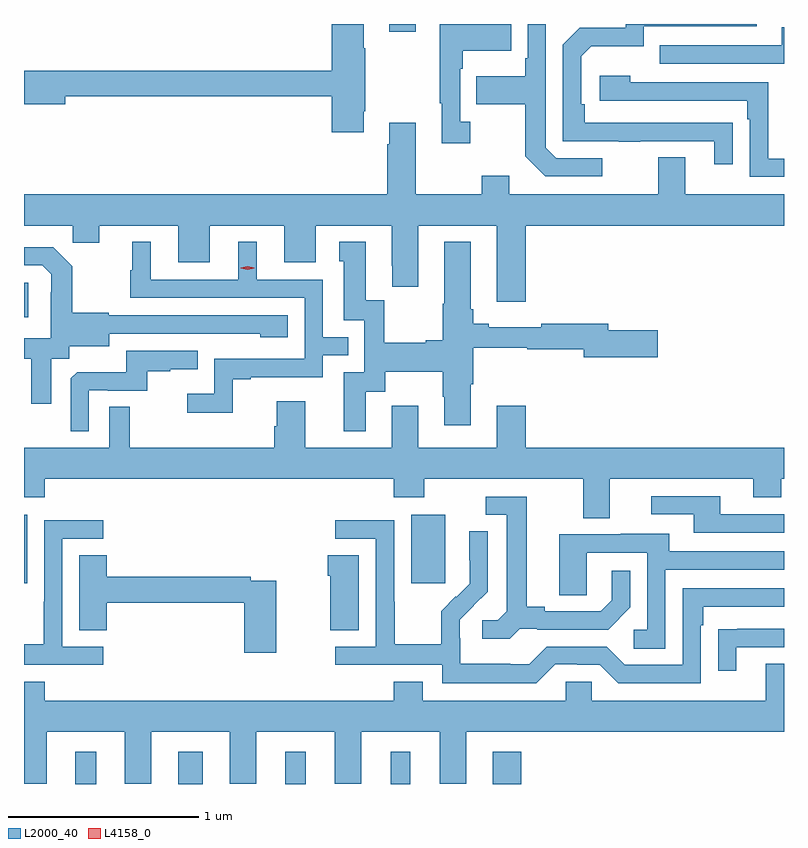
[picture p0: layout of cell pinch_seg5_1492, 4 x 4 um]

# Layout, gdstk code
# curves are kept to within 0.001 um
import gdstk
lib = gdstk.Library(unit=1e-6, precision=1e-09)
def R(c, l, rs):  # rectangles x0, y0, x1, y1
    for r in rs: c.add(gdstk.rectangle(r[:2], r[2:], *l))
def P(c, l, *ps):  # polygons
    for p in ps: c.add(gdstk.Polygon(p, *l))
L2000_40 = (2000, 40)
L4158_0 = (4158, 0)

pinch_seg5_1492 = lib.new_cell('pinch_seg5_1492')
R(pinch_seg5_1492, L2000_40, [(252.356,839.169,252.466,839.338), (252.899,839.169,253.027,839.338), (253.46,839.169,253.57,839.338), (254.015,839.169,254.119,839.338), (254.552,839.169,254.702,839.338), (252.086,840.225,252.103,840.586), (254.123,840.225,254.302,840.586), (252.086,841.626,252.109,841.806), (254.009,843.129,254.149,843.169)])
P(pinch_seg5_1492, L2000_40, [(254.434,842.654),(254.382,842.654),(254.382,842.933),(254.395,842.933),(254.395,843.029),(254.651,843.029),(254.651,843.169),(254.274,843.169),(254.274,842.753),(254.285,842.753),(254.285,842.541),(254.434,842.541)],
  [(255.13,842.463),(254.886,842.463),(254.832,842.517),(254.832,843.169),(254.736,843.169),(254.736,842.989),(254.724,842.989),(254.724,842.893),(254.467,842.893),(254.467,842.746),(254.724,842.746),(254.724,842.473),(254.829,842.367),(255.13,842.367)],
  [(253.873,842.71),(253.881,842.71),(253.881,843.041),(253.873,843.041),(253.873,843.169),(253.706,843.169),(253.706,842.924),(252.086,842.924),(252.086,842.746),(252.304,842.746),(252.304,842.788),(253.706,842.788),(253.706,842.598),(253.873,842.598)],
  [(255.815,842.648),(255.038,842.649),(255.038,842.746),(255.018,842.746),(255.018,843),(255.071,843.053),(255.348,843.053),(255.348,843.156),(255.943,843.156),(255.943,843.169),(255.252,843.169),(255.252,843.15),(255.012,843.15),(254.922,843.06),(254.922,842.553),(255.217,842.553),(255.217,842.548),(255.329,842.548),(255.329,842.553),(255.719,842.553),(255.719,842.43),(255.815,842.43)],
  [(256.086,843.151),(256.073,843.151),(256.073,843.057),(255.433,843.057),(255.433,842.961),(256.086,842.961)],
  [(256.086,842.46),(256.002,842.46),(256.002,842.862),(255.278,842.862),(255.278,842.896),(255.117,842.896),(255.117,842.766),(255.893,842.766),(255.893,842.669),(255.906,842.669),(255.906,842.364),(256.086,842.364)],
  [(254.726,842.108),(256.086,842.108),(256.086,842.272),(255.565,842.272),(255.565,842.467),(255.425,842.467),(255.425,842.272),(254.641,842.272),(254.641,842.371),(254.494,842.371),(254.494,842.272),(254.149,842.272),(254.149,842.65),(254.009,842.65),(254.009,842.537),(253.997,842.537),(253.997,842.272),(252.086,842.272),(252.086,842.108),(252.343,842.108),(252.343,842.018),(252.481,842.018),(252.481,842.108),(252.899,842.108),(252.899,841.914),(253.063,841.914),(253.063,842.108),(253.457,842.108),(253.457,841.914),(253.621,841.914),(253.621,842.108),(254.021,842.108),(254.021,841.897),(254.024,841.897),(254.024,841.785),(254.161,841.785),(254.161,842.108),(254.573,842.108),(254.573,841.707),(254.726,841.707)],
  [(253.885,841.234),(253.987,841.234),(253.987,841.34),(254.29,841.34),(254.29,841.206),(254.297,841.206),(254.297,841.056),(254.437,841.056),(254.437,841.274),(254.45,841.274),(254.45,841.464),(254.735,841.464),(254.735,841.456),(255.032,841.456),(255.032,841.414),(255.421,841.414),(255.421,841.556),(255.16,841.556),(255.16,841.592),(254.809,841.592),(254.809,841.573),(254.533,841.573),(254.533,841.592),(254.45,841.592),(254.45,841.669),(254.437,841.669),(254.437,842.023),(254.297,842.023),(254.297,841.697),(254.29,841.697),(254.29,841.505),(254.201,841.505),(254.201,841.492),(253.983,841.492),(253.983,841.715),(253.885,841.715),(253.885,842.023),(253.745,842.023),(253.745,841.92),(253.769,841.92),(253.769,841.611),(253.878,841.611),(253.878,841.335),(253.769,841.335),(253.769,841.026),(253.885,841.026)],
  [(253.185,841.299),(253.279,841.299),(253.279,841.311),(253.659,841.311),(253.659,841.425),(253.793,841.425),(253.793,841.521),(253.659,841.521),(253.659,841.824),(253.312,841.824),(253.312,842.023),(253.214,842.023),(253.214,841.824),(252.754,841.824),(252.754,842.023),(252.656,842.023),(252.656,841.872),(252.645,841.872),(252.645,841.728),(253.563,841.728),(253.563,841.407),(253.086,841.407),(253.086,841.222),(252.945,841.222),(252.945,841.124),(253.185,841.124)],
  [(252.229,841.408),(252.324,841.408),(252.324,841.472),(252.535,841.472),(252.535,841.539),(253.329,841.538),(253.329,841.52),(253.474,841.52),(253.474,841.635),(252.531,841.635),(252.531,841.648),(252.339,841.648),(252.339,841.893),(252.239,841.993),(252.086,841.993),(252.086,841.899),(252.183,841.899),(252.23,841.852),(252.23,841.757),(252.228,841.757),(252.228,841.516),(252.086,841.516),(252.086,841.406),(252.125,841.406),(252.125,841.17),(252.229,841.17)],
  [(252.426,841.242),(252.526,841.242),(252.526,841.239),(252.734,841.239),(252.734,841.341),(252.857,841.341),(252.857,841.352),(253.001,841.352),(253.001,841.449),(252.624,841.449),(252.624,841.337),(252.365,841.337),(252.333,841.305),(252.333,841.025),(252.426,841.025)],
  [(255.169,840.776),(255.923,840.776),(255.923,840.677),(256.071,840.677),(256.071,840.776),(256.086,840.776),(256.086,840.94),(254.726,840.94),(254.726,841.159),(254.573,841.159),(254.573,840.94),(254.161,840.94),(254.161,841.159),(254.021,841.159),(254.021,840.94),(253.567,840.94),(253.567,841.183),(253.415,841.183),(253.415,841.053),(253.403,841.053),(253.403,840.94),(252.643,840.94),(252.643,841.154),(252.534,841.154),(252.534,840.94),(252.086,840.94),(252.086,840.677),(252.194,840.677),(252.194,840.776),(254.033,840.776),(254.033,840.677),(254.193,840.677),(254.193,840.776),(255.029,840.776),(255.029,840.568),(255.169,840.568)],
  [(256.086,840.588),(255.751,840.588),(255.751,840.684),(255.387,840.684),(255.387,840.588),(255.611,840.588),(255.611,840.492),(256.086,840.492)],
  [(254.694,839.985),(254.788,839.985),(254.788,839.982),(255.16,839.982),(255.276,840.098),(255.276,840.292),(255.179,840.292),(255.179,840.135),(255.122,840.078),(254.827,840.078),(254.827,840.101),(254.731,840.101),(254.731,840.681),(254.517,840.681),(254.517,840.585),(254.627,840.585),(254.627,840.077),(254.58,840.03),(254.499,840.03),(254.499,839.933),(254.642,839.933)],
  [(254.883,839.799),(254.999,839.799),(254.999,839.796),(255.117,839.796),(255.213,839.7),(255.648,839.7),(255.648,840.005),(255.661,840.005),(255.661,840.102),(256.086,840.102),(256.086,840.198),(255.552,840.198),(255.552,839.796),(255.249,839.796),(255.153,839.892),(254.838,839.892),(254.745,839.799),(254.645,839.799),(254.645,839.803),(254.382,839.803),(254.382,839.937),(254.38,839.937),(254.38,840.034),(254.526,840.182),(254.526,840.5),(254.43,840.5),(254.43,840.346),(254.432,840.346),(254.432,840.224),(254.361,840.153),(254.358,840.156),(254.281,840.079),(254.281,839.905),(254.037,839.905),(254.037,840.128),(254.034,840.128),(254.034,840.558),(253.725,840.558),(253.725,840.459),(253.938,840.459),(253.938,839.892),(253.725,839.892),(253.725,839.796),(254.286,839.796),(254.286,839.699),(254.783,839.699)],
  [(252.502,839.892),(252.288,839.892),(252.288,840.459),(252.502,840.459),(252.502,840.558),(252.192,840.558),(252.192,840.128),(252.19,840.128),(252.19,839.905),(252.086,839.905),(252.086,839.796),(252.502,839.796)],
  [(255.462,840.297),(256.086,840.297),(256.086,840.393),(255.481,840.393),(255.481,840.487),(255.227,840.487),(255.227,840.483),(254.903,840.483),(254.903,840.163),(255.048,840.163),(255.048,840.387),(255.366,840.387),(255.366,839.982),(255.294,839.982),(255.294,839.881),(255.462,839.881)],
  [(253.414,840.24),(253.28,840.24),(253.28,840.26),(252.521,840.26),(252.521,840.374),(252.377,840.374),(252.377,839.977),(252.521,839.977),(252.521,840.124),(253.244,840.124),(253.244,839.859),(253.414,839.859)],
  [(253.849,840.374),(253.685,840.374),(253.685,840.266),(253.697,840.266),(253.697,839.977),(253.849,839.977)],
  [(255.835,839.889),(256.086,839.889),(256.086,839.985),(255.841,839.985),(255.841,839.984),(255.739,839.984),(255.739,839.766),(255.835,839.766)],
  [(256.086,839.803),(255.989,839.803),(255.989,839.608),(255.075,839.608),(255.075,839.706),(254.937,839.706),(254.937,839.608),(254.185,839.608),(254.185,839.707),(254.033,839.707),(254.033,839.608),(252.194,839.608),(252.194,839.707),(252.086,839.707),(252.086,839.171),(252.205,839.171),(252.205,839.444),(252.617,839.444),(252.617,839.171),(252.757,839.171),(252.757,839.444),(253.169,839.444),(253.169,839.171),(253.309,839.171),(253.309,839.444),(253.721,839.444),(253.721,839.171),(253.861,839.171),(253.861,839.444),(254.273,839.444),(254.273,839.171),(254.413,839.171),(254.413,839.444),(256.086,839.444)])
P(pinch_seg5_1492, L4158_0, [(253.263,841.875),(253.228,841.884),(253.227,841.885),(253.228,841.885),(253.263,841.895),(253.298,841.885),(253.299,841.885),(253.298,841.884)])

lib.write_gds('pinch_seg5_1492.gds')
